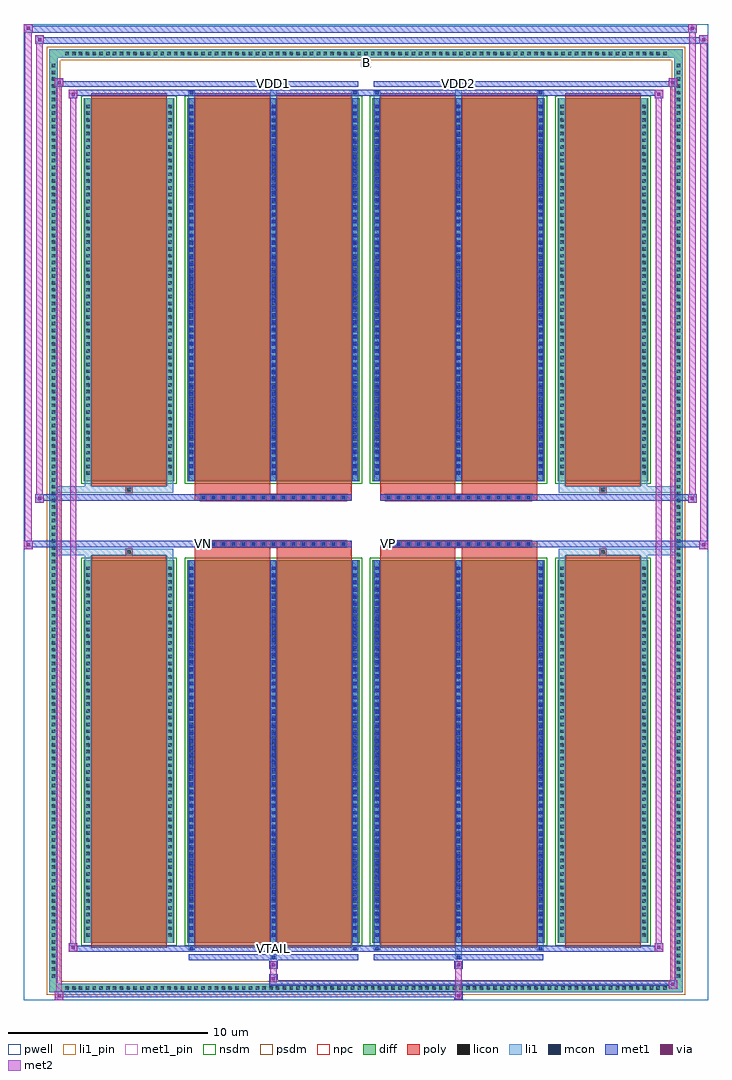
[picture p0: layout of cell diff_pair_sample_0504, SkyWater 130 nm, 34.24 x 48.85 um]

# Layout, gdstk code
import gdstk
lib = gdstk.Library(unit=1e-6, precision=5e-09)
def R(c, l, rs):  # rectangles x0, y0, x1, y1
    for r in rs: c.add(gdstk.rectangle(r[:2], r[2:], *l))
def A(c, l, x, y, w, h, nx, ny, dx, dy):  # array of equal rectangles
    R(c, l, [(x+i*dx, y+j*dy, x+i*dx+w, y+j*dy+h) for i in range(nx) for j in range(ny)])
def P(c, l, *ps):  # polygons
    for p in ps: c.add(gdstk.Polygon(p, *l))
pwell = (64, 44)
diff = (65, 20)
poly = (66, 20)
licon = (66, 44)
li1_pin = (67, 16)
li1 = (67, 20)
mcon = (67, 44)
met1_pin = (68, 16)
met1 = (68, 20)
via = (68, 44)
met2 = (69, 20)
nsdm = (93, 44)
psdm = (94, 20)
npc = (95, 20)

diff_pair_sample_0504 = lib.new_cell('diff_pair_sample_0504')
R(diff_pair_sample_0504, pwell, [(-17.12,-23.99,17.12,24.86), (-14.44,-22.18,-0.01,-0.8), (0.01,-22.18,14.44,-0.8), (-14.44,0.8,-0.01,22.18), (0.01,0.8,14.44,22.18)])
A(diff_pair_sample_0504, diff, -15.165, -23.59, 0.41, 0.41, 89, 2, 0.34, 46.77)
A(diff_pair_sample_0504, diff, -15.85, -22.985, 0.41, 0.41, 1, 135, 0, 0.34)
A(diff_pair_sample_0504, diff, 15.44, -22.985, 0.41, 0.41, 1, 135, 0, 0.34)
R(diff_pair_sample_0504, diff, [(-15.165,-23.59,15.165,-23.18), (-15.85,-22.985,-15.44,22.985), (15.44,-22.985,15.85,22.985), (-14.13,-21.135,-9.59,-1.985), (-8.95,-21.135,-0.32,-1.985), (0.32,-21.135,8.95,-1.985), (9.59,-21.135,14.13,-1.985), (-14.13,1.985,-9.59,21.135), (-8.95,1.985,-0.32,21.135), (0.32,1.985,8.95,21.135), (9.59,1.985,14.13,21.135), (-15.165,23.18,15.165,23.59)])
P(diff_pair_sample_0504, diff, [(15.85,23.59),(-15.85,23.59),(-15.85,-23.18),(-15.44,-23.18),(-15.44,23.18),(15.44,23.18),(15.44,-23.18),(-15.44,-23.18),(-15.85,-23.18),(-15.85,-23.59),(15.85,-23.59)])
A(diff_pair_sample_0504, poly, -8.3, -1.33, 0.33, 0.33, 15, 2, 0.5, 2.33)
A(diff_pair_sample_0504, poly, 0.97, -1.33, 0.33, 0.33, 15, 2, 0.5, 2.33)
R(diff_pair_sample_0504, poly, [(-13.74,-21.385,-9.98,-1.735), (-8.56,-21.385,-4.8,-1.735), (-4.47,-21.385,-0.71,-1.735), (0.71,-21.385,4.47,-1.735), (4.8,-21.385,8.56,-1.735), (9.98,-21.385,13.74,-1.735), (-12.025,-1.735,-11.695,-1.405), (-12.025,-1.735,-11.695,-1.405), (-8.56,-1.735,-4.8,-1.33), (-4.47,-1.735,-0.71,-1.33), (0.71,-1.735,4.47,-1.33), (4.8,-1.735,8.56,-1.33), (11.695,-1.735,12.025,-1.405), (11.695,-1.735,12.025,-1.405), (-8.56,-1.33,-0.71,-1), (0.71,-1.33,8.56,-1), (-8.56,1,-0.71,1.33), (0.71,1,8.56,1.33), (-8.56,1.33,-4.8,1.735), (-4.47,1.33,-0.71,1.735), (0.71,1.33,4.47,1.735), (4.8,1.33,8.56,1.735), (-12.025,1.405,-11.695,1.735), (-12.025,1.405,-11.695,1.735), (11.695,1.405,12.025,1.735), (11.695,1.405,12.025,1.735), (-13.74,1.735,-9.98,21.385), (-8.56,1.735,-4.8,21.385), (-4.47,1.735,-0.71,21.385), (0.71,1.735,4.47,21.385), (4.8,1.735,8.56,21.385), (9.98,1.735,13.74,21.385)])
A(diff_pair_sample_0504, licon, -15.045, -23.47, 0.17, 0.17, 89, 2, 0.34, 46.77)
A(diff_pair_sample_0504, licon, -15.73, -22.865, 0.17, 0.17, 1, 135, 0, 0.34)
A(diff_pair_sample_0504, licon, 15.56, -22.865, 0.17, 0.17, 1, 135, 0, 0.34)
A(diff_pair_sample_0504, licon, -13.99, -20.825, 0.17, 0.17, 1, 55, 0, 0.34)
A(diff_pair_sample_0504, licon, -9.9, -20.825, 0.17, 0.17, 1, 55, 0, 0.34)
A(diff_pair_sample_0504, licon, -8.81, -20.825, 0.17, 0.17, 3, 55, 4.09, 0.34)
A(diff_pair_sample_0504, licon, 0.46, -20.825, 0.17, 0.17, 3, 55, 4.09, 0.34)
A(diff_pair_sample_0504, licon, 9.73, -20.825, 0.17, 0.17, 1, 55, 0, 0.34)
A(diff_pair_sample_0504, licon, 13.82, -20.825, 0.17, 0.17, 1, 55, 0, 0.34)
A(diff_pair_sample_0504, licon, -8.22, -1.25, 0.17, 0.17, 15, 2, 0.5, 2.33)
A(diff_pair_sample_0504, licon, 1.05, -1.25, 0.17, 0.17, 15, 2, 0.5, 2.33)
A(diff_pair_sample_0504, licon, -13.99, 2.295, 0.17, 0.17, 1, 55, 0, 0.34)
A(diff_pair_sample_0504, licon, -9.9, 2.295, 0.17, 0.17, 1, 55, 0, 0.34)
A(diff_pair_sample_0504, licon, -8.81, 2.295, 0.17, 0.17, 3, 55, 4.09, 0.34)
A(diff_pair_sample_0504, licon, 0.46, 2.295, 0.17, 0.17, 3, 55, 4.09, 0.34)
A(diff_pair_sample_0504, licon, 9.73, 2.295, 0.17, 0.17, 1, 55, 0, 0.34)
A(diff_pair_sample_0504, licon, 13.82, 2.295, 0.17, 0.17, 1, 55, 0, 0.34)
R(diff_pair_sample_0504, licon, [(-11.945,-1.655,-11.775,-1.485), (11.775,-1.655,11.945,-1.485), (-11.945,1.485,-11.775,1.655), (11.775,1.485,11.945,1.655)])
R(diff_pair_sample_0504, li1_pin, [(-0.25,22.68,0.25,23.18)])
A(diff_pair_sample_0504, li1, -15.125, -23.55, 0.33, 0.33, 89, 2, 0.34, 46.77)
A(diff_pair_sample_0504, li1, -15.81, -22.945, 0.33, 0.33, 1, 135, 0, 0.34)
A(diff_pair_sample_0504, li1, 15.48, -22.945, 0.33, 0.33, 1, 135, 0, 0.34)
A(diff_pair_sample_0504, li1, -8.89, -21.135, 0.33, 19.15, 3, 2, 4.09, 23.12)
A(diff_pair_sample_0504, li1, 0.38, -21.135, 0.33, 19.15, 3, 2, 4.09, 23.12)
A(diff_pair_sample_0504, li1, -14.07, -20.905, 0.33, 0.33, 1, 55, 0, 0.34)
A(diff_pair_sample_0504, li1, -9.98, -20.905, 0.33, 0.33, 1, 55, 0, 0.34)
A(diff_pair_sample_0504, li1, -8.89, -20.905, 0.33, 0.33, 3, 55, 4.09, 0.34)
A(diff_pair_sample_0504, li1, 0.38, -20.905, 0.33, 0.33, 3, 55, 4.09, 0.34)
A(diff_pair_sample_0504, li1, 9.65, -20.905, 0.33, 0.33, 1, 55, 0, 0.34)
A(diff_pair_sample_0504, li1, 13.74, -20.905, 0.33, 0.33, 1, 55, 0, 0.34)
A(diff_pair_sample_0504, li1, -8.81, -20.825, 0.17, 0.17, 3, 52, 4.09, 0.36)
A(diff_pair_sample_0504, li1, -8.81, -20.825, 0.17, 18.53, 3, 2, 4.09, 23.12)
A(diff_pair_sample_0504, li1, 0.46, -20.825, 0.17, 0.17, 3, 52, 4.09, 0.36)
A(diff_pair_sample_0504, li1, 0.46, -20.825, 0.17, 18.53, 3, 2, 4.09, 23.12)
A(diff_pair_sample_0504, li1, -8.3, -1.33, 0.33, 0.33, 15, 2, 0.5, 2.33)
A(diff_pair_sample_0504, li1, 0.97, -1.33, 0.33, 0.33, 15, 2, 0.5, 2.33)
A(diff_pair_sample_0504, li1, -14.07, 2.215, 0.33, 0.33, 1, 55, 0, 0.34)
A(diff_pair_sample_0504, li1, -9.98, 2.215, 0.33, 0.33, 1, 55, 0, 0.34)
A(diff_pair_sample_0504, li1, -8.89, 2.215, 0.33, 0.33, 3, 55, 4.09, 0.34)
A(diff_pair_sample_0504, li1, 0.38, 2.215, 0.33, 0.33, 3, 55, 4.09, 0.34)
A(diff_pair_sample_0504, li1, 9.65, 2.215, 0.33, 0.33, 1, 55, 0, 0.34)
A(diff_pair_sample_0504, li1, 13.74, 2.215, 0.33, 0.33, 1, 55, 0, 0.34)
A(diff_pair_sample_0504, li1, -8.81, 2.295, 0.17, 0.17, 3, 52, 4.09, 0.36)
A(diff_pair_sample_0504, li1, 0.46, 2.295, 0.17, 0.17, 3, 52, 4.09, 0.36)
R(diff_pair_sample_0504, li1, [(-15.85,-23.59,-15.44,-23.18), (-15.85,-23.59,-15.44,-23.18), (-15.44,-23.59,15.44,-23.18), (15.44,-23.59,15.85,-23.18), (15.44,-23.59,15.85,-23.18), (-15.85,-23.18,-15.44,23.18), (15.44,-23.18,15.85,23.18), (-4.8,-21.94,-4.47,-21.135), (-4.72,-21.94,-4.55,-21.77), (4.47,-21.94,4.8,-21.135), (4.55,-21.94,4.72,-21.77), (-8.89,-21.51,-8.56,-21.135), (-8.81,-21.51,-8.64,-21.34), (-0.71,-21.51,-0.38,-21.135), (-0.63,-21.51,-0.46,-21.34), (0.38,-21.51,0.71,-21.135), (0.46,-21.51,0.63,-21.34), (8.56,-21.51,8.89,-21.135), (8.64,-21.51,8.81,-21.34), (-14.07,-21.135,-13.74,-1.985), (-9.98,-21.135,-9.65,-1.985), (9.65,-21.135,9.98,-1.985), (13.74,-21.135,14.07,-1.985), (-14.07,-1.985,-13.74,-1.405), (-9.98,-1.985,-9.65,-1.405), (9.65,-1.985,9.98,-1.405), (13.74,-1.985,14.07,-1.405), (-15.85,-1.735,-12.025,-1.405), (-14.07,-1.735,-12.025,-1.405), (-12.025,-1.735,-11.695,-1.405), (-11.695,-1.735,-9.65,-1.405), (9.65,-1.735,11.695,-1.405), (11.695,-1.735,12.025,-1.405), (11.695,-1.735,15.85,-1.405), (12.025,-1.735,14.07,-1.405), (-15.85,1.405,-12.025,1.735), (-14.07,1.405,-12.025,1.735), (-14.07,1.405,-13.74,1.985), (-12.025,1.405,-11.695,1.735), (-11.695,1.405,-9.65,1.735), (-9.98,1.405,-9.65,1.985), (9.65,1.405,11.695,1.735), (9.65,1.405,9.98,1.985), (11.695,1.405,12.025,1.735), (11.695,1.405,15.85,1.735), (12.025,1.405,14.07,1.735), (13.74,1.405,14.07,1.985), (-14.07,1.985,-13.74,21.135), (-9.98,1.985,-9.65,21.135), (9.65,1.985,9.98,21.135), (13.74,1.985,14.07,21.135), (-8.89,21.135,-8.56,21.51), (-4.8,21.135,-4.47,21.94), (-0.71,21.135,-0.38,21.51), (0.38,21.135,0.71,21.51), (4.47,21.135,4.8,21.94), (8.56,21.135,8.89,21.51), (-8.81,21.34,-8.64,21.51), (-0.63,21.34,-0.46,21.51), (0.46,21.34,0.63,21.51), (8.64,21.34,8.81,21.51), (-4.72,21.77,-4.55,21.94), (4.55,21.77,4.72,21.94), (-15.85,23.18,-15.44,23.59), (-15.85,23.18,-15.44,23.59), (-15.44,23.18,15.44,23.59), (15.44,23.18,15.85,23.59), (15.44,23.18,15.85,23.59)])
A(diff_pair_sample_0504, mcon, -8.81, -20.825, 0.17, 0.17, 3, 52, 4.09, 0.36)
A(diff_pair_sample_0504, mcon, 0.46, -20.825, 0.17, 0.17, 3, 52, 4.09, 0.36)
A(diff_pair_sample_0504, mcon, -8.22, -1.25, 0.17, 0.17, 15, 2, 0.5, 2.33)
A(diff_pair_sample_0504, mcon, 1.05, -1.25, 0.17, 0.17, 15, 2, 0.5, 2.33)
A(diff_pair_sample_0504, mcon, -8.81, 2.295, 0.17, 0.17, 3, 52, 4.09, 0.36)
A(diff_pair_sample_0504, mcon, 0.46, 2.295, 0.17, 0.17, 3, 52, 4.09, 0.36)
R(diff_pair_sample_0504, mcon, [(-4.72,-21.94,-4.55,-21.77), (4.55,-21.94,4.72,-21.77), (-8.81,-21.51,-8.64,-21.34), (-0.63,-21.51,-0.46,-21.34), (0.46,-21.51,0.63,-21.34), (8.64,-21.51,8.81,-21.34), (-8.81,21.34,-8.64,21.51), (-0.63,21.34,-0.46,21.51), (0.46,21.34,0.63,21.51), (8.64,21.34,8.81,21.51), (-4.72,21.77,-4.55,21.94), (4.55,21.77,4.72,21.94)])
R(diff_pair_sample_0504, met1_pin, [(-4.77,-21.55,-4.5,-21.28), (-8.27,-1.29,-8,-1.02), (1,-1.29,1.27,-1.02), (-4.77,21.73,-4.5,22), (4.5,21.73,4.77,22)])
A(diff_pair_sample_0504, met1, -8.87, -21.135, 0.29, 19.15, 3, 2, 4.09, 23.12)
A(diff_pair_sample_0504, met1, 0.4, -21.135, 0.29, 19.15, 3, 2, 4.09, 23.12)
A(diff_pair_sample_0504, met1, -8.87, -20.885, 0.29, 0.29, 3, 52, 4.09, 0.36)
A(diff_pair_sample_0504, met1, 0.4, -20.885, 0.29, 0.29, 3, 52, 4.09, 0.36)
A(diff_pair_sample_0504, met1, -8.28, -1.31, 0.29, 0.29, 15, 2, 0.5, 2.33)
A(diff_pair_sample_0504, met1, 0.99, -1.31, 0.29, 0.29, 15, 2, 0.5, 2.33)
A(diff_pair_sample_0504, met1, -8.87, 2.235, 0.29, 0.29, 3, 52, 4.09, 0.36)
A(diff_pair_sample_0504, met1, 0.4, 2.235, 0.29, 0.29, 3, 52, 4.09, 0.36)
R(diff_pair_sample_0504, met1, [(-15.58,-23.99,-15.15,-23.56), (4.42,-23.99,4.85,-23.56), (-15.58,-23.85,4.85,-23.56), (15.15,-23.42,15.58,-22.99), (-4.85,-23.28,15.58,-22.99), (-4.85,-23.14,-4.42,-22.71), (-4.85,-22.43,-4.42,-22), (4.42,-22.43,4.85,-22), (-8.87,-22,-0.4,-21.71), (-4.78,-22,-4.49,-21.71), (0.4,-22,8.87,-21.71), (4.49,-22,4.78,-21.71), (-14.87,-21.57,-14.44,-21.14), (-14.87,-21.57,-8.87,-21.28), (-8.87,-21.57,-8.58,-21.28), (-8.87,-21.57,-0.4,-21.28), (-0.69,-21.57,-0.4,-21.28), (-0.4,-21.57,0.4,-21.28), (0.4,-21.57,0.69,-21.28), (0.4,-21.57,8.87,-21.28), (8.58,-21.57,8.87,-21.28), (8.87,-21.57,14.87,-21.28), (14.44,-21.57,14.87,-21.14), (-17.12,-1.43,-16.69,-1), (16.69,-1.43,17.12,-1), (-17.12,-1.33,-0.71,-1), (-8.56,-1.33,-0.71,-1), (0.71,-1.33,8.56,-1), (0.71,-1.33,17.12,-1), (-16.55,0.9,-16.12,1.33), (16.12,0.9,16.55,1.33), (-16.55,1,-8.56,1.33), (-8.56,1,-0.71,1.33), (0.71,1,8.56,1.33), (8.56,1,16.55,1.33), (-14.87,21.14,-14.44,21.57), (14.44,21.14,14.87,21.57), (-14.87,21.28,-8.87,21.57), (-8.87,21.28,-8.58,21.57), (-8.87,21.28,-0.4,21.57), (-0.69,21.28,-0.4,21.57), (-0.4,21.28,0.4,21.57), (0.4,21.28,0.69,21.57), (0.4,21.28,8.87,21.57), (8.58,21.28,8.87,21.57), (8.87,21.28,14.87,21.57), (-15.58,21.71,-15.15,22.14), (-15.58,21.71,-8.87,22), (-8.87,21.71,-0.4,22), (-4.78,21.71,-4.49,22), (0.4,21.71,8.87,22), (4.49,21.71,4.78,22), (8.87,21.71,15.58,22), (15.15,21.71,15.58,22.14), (-16.55,23.86,-16.12,24.29), (-16.55,23.86,-14.44,24.19), (-14.44,23.86,14.44,24.19), (14.44,23.86,17.12,24.19), (16.69,23.86,17.12,24.29), (-17.12,24.43,-16.69,24.86), (-17.12,24.43,-14.44,24.76), (-14.44,24.43,14.44,24.76), (14.44,24.43,16.55,24.76), (16.12,24.43,16.55,24.86)])
R(diff_pair_sample_0504, via, [(-15.44,-23.85,-15.29,-23.7), (4.56,-23.85,4.71,-23.7), (15.29,-23.28,15.44,-23.13), (-4.71,-23,-4.56,-22.85), (-4.71,-22.29,-4.56,-22.14), (4.56,-22.29,4.71,-22.14), (-14.73,-21.43,-14.58,-21.28), (14.58,-21.43,14.73,-21.28), (-16.98,-1.29,-16.83,-1.14), (16.83,-1.29,16.98,-1.14), (-16.41,1.04,-16.26,1.19), (16.26,1.04,16.41,1.19), (-14.73,21.28,-14.58,21.43), (14.58,21.28,14.73,21.43), (-15.44,21.85,-15.29,22), (15.29,21.85,15.44,22), (-16.41,24,-16.26,24.15), (16.83,24,16.98,24.15), (-16.98,24.57,-16.83,24.72), (16.26,24.57,16.41,24.72)])
R(diff_pair_sample_0504, met2, [(-15.58,-23.99,-15.15,-23.56), (-15.51,-23.99,-15.22,22.14), (-15.22,-23.99,-15.15,-23.56), (-15.53,-23.94,-15.2,-23.61), (4.47,-23.94,4.8,-23.61), (4.47,-23.61,4.8,-22.38), (15.15,-23.42,15.58,-22.99), (15.22,-23.42,15.51,22.14), (15.51,-23.42,15.58,-22.99), (15.2,-23.37,15.53,-23.04), (-4.8,-23.09,-4.47,-22.76), (-4.8,-22.76,-4.47,-22.38), (-4.8,-22.38,-4.47,-22.05), (4.47,-22.38,4.8,-22.05), (-14.87,-21.57,-14.44,-21.14), (-14.8,-21.57,-14.51,21.57), (-14.51,-21.57,-14.44,-21.14), (14.44,-21.57,14.87,-21.14), (14.51,-21.57,14.8,21.57), (14.8,-21.57,14.87,-21.14), (-14.82,-21.52,-14.49,-21.19), (14.49,-21.52,14.82,-21.19), (-17.12,-1.43,-16.69,-1), (-17.07,-1.43,-16.74,24.86), (-16.74,-1.43,-16.69,-1), (16.69,-1.43,17.12,-1), (16.74,-1.43,17.07,24.29), (17.07,-1.43,17.12,-1), (-17.07,-1.38,-16.74,-1.05), (16.74,-1.38,17.07,-1.05), (-16.55,0.9,-16.12,1.33), (-16.5,0.9,-16.17,24.29), (-16.17,0.9,-16.12,1.33), (16.12,0.9,16.55,1.33), (16.17,0.9,16.5,24.86), (16.5,0.9,16.55,1.33), (-16.5,0.95,-16.17,1.28), (16.17,0.95,16.5,1.28), (-14.87,21.14,-14.44,21.57), (-14.51,21.14,-14.44,21.57), (14.44,21.14,14.87,21.57), (14.8,21.14,14.87,21.57), (-14.82,21.19,-14.49,21.52), (14.49,21.19,14.82,21.52), (-15.58,21.71,-15.15,22.14), (-15.22,21.71,-15.15,22.14), (15.15,21.71,15.58,22.14), (15.51,21.71,15.58,22.14), (-15.53,21.76,-15.2,22.09), (15.2,21.76,15.53,22.09), (-16.55,23.86,-16.12,24.29), (-16.17,23.86,-16.12,24.29), (16.69,23.86,17.12,24.29), (17.07,23.86,17.12,24.29), (-16.5,23.91,-16.17,24.24), (16.74,23.91,17.07,24.24), (-17.12,24.43,-16.69,24.86), (-16.74,24.43,-16.69,24.86), (16.12,24.43,16.55,24.86), (16.5,24.43,16.55,24.86), (-17.07,24.48,-16.74,24.81), (16.17,24.48,16.5,24.81)])
R(diff_pair_sample_0504, nsdm, [(-14.26,-21.265,-9.46,-1.855), (-9.08,-21.265,-0.19,-1.855), (0.19,-21.265,9.08,-1.855), (9.46,-21.265,14.26,-1.855), (-14.26,1.855,-9.46,21.265), (-9.08,1.855,-0.19,21.265), (0.19,1.855,9.08,21.265), (9.46,1.855,14.26,21.265)])
P(diff_pair_sample_0504, psdm, [(15.98,23.72),(-15.98,23.72),(-15.98,-23.05),(-15.31,-23.05),(-15.31,23.05),(15.31,23.05),(15.31,-23.05),(-15.31,-23.05),(-15.98,-23.05),(-15.98,-23.72),(15.98,-23.72)])
A(diff_pair_sample_0504, npc, -8.32, -1.35, 0.37, 0.37, 15, 2, 0.5, 2.33)
A(diff_pair_sample_0504, npc, 0.95, -1.35, 0.37, 0.37, 15, 2, 0.5, 2.33)
R(diff_pair_sample_0504, npc, [(-12.045,-1.755,-11.675,-1.385), (11.675,-1.755,12.045,-1.385), (-8.32,-1.35,-7.45,-0.98), (-8.32,-1.35,-7.45,-0.98), (-7.82,-1.35,-6.95,-0.98), (-7.82,-1.35,-6.95,-0.98), (-7.32,-1.35,-6.45,-0.98), (-7.32,-1.35,-6.45,-0.98), (-6.82,-1.35,-5.95,-0.98), (-6.82,-1.35,-5.95,-0.98), (-6.32,-1.35,-5.45,-0.98), (-6.32,-1.35,-5.45,-0.98), (-5.82,-1.35,-4.95,-0.98), (-5.82,-1.35,-4.95,-0.98), (-5.32,-1.35,-4.45,-0.98), (-5.32,-1.35,-4.45,-0.98), (-4.82,-1.35,-3.95,-0.98), (-4.82,-1.35,-3.95,-0.98), (-4.32,-1.35,-3.45,-0.98), (-4.32,-1.35,-3.45,-0.98), (-3.82,-1.35,-2.95,-0.98), (-3.82,-1.35,-2.95,-0.98), (-3.32,-1.35,-2.45,-0.98), (-3.32,-1.35,-2.45,-0.98), (-2.82,-1.35,-1.95,-0.98), (-2.82,-1.35,-1.95,-0.98), (-2.32,-1.35,-1.45,-0.98), (-2.32,-1.35,-1.45,-0.98), (-1.82,-1.35,-0.95,-0.98), (-1.82,-1.35,-0.95,-0.98), (0.95,-1.35,1.82,-0.98), (0.95,-1.35,1.82,-0.98), (1.45,-1.35,2.32,-0.98), (1.45,-1.35,2.32,-0.98), (1.95,-1.35,2.82,-0.98), (1.95,-1.35,2.82,-0.98), (2.45,-1.35,3.32,-0.98), (2.45,-1.35,3.32,-0.98), (2.95,-1.35,3.82,-0.98), (2.95,-1.35,3.82,-0.98), (3.45,-1.35,4.32,-0.98), (3.45,-1.35,4.32,-0.98), (3.95,-1.35,4.82,-0.98), (3.95,-1.35,4.82,-0.98), (4.45,-1.35,5.32,-0.98), (4.45,-1.35,5.32,-0.98), (4.95,-1.35,5.82,-0.98), (4.95,-1.35,5.82,-0.98), (5.45,-1.35,6.32,-0.98), (5.45,-1.35,6.32,-0.98), (5.95,-1.35,6.82,-0.98), (5.95,-1.35,6.82,-0.98), (6.45,-1.35,7.32,-0.98), (6.45,-1.35,7.32,-0.98), (6.95,-1.35,7.82,-0.98), (6.95,-1.35,7.82,-0.98), (7.45,-1.35,8.32,-0.98), (7.45,-1.35,8.32,-0.98), (-8.32,0.98,-7.45,1.35), (-8.32,0.98,-7.45,1.35), (-7.82,0.98,-6.95,1.35), (-7.82,0.98,-6.95,1.35), (-7.32,0.98,-6.45,1.35), (-7.32,0.98,-6.45,1.35), (-6.82,0.98,-5.95,1.35), (-6.82,0.98,-5.95,1.35), (-6.32,0.98,-5.45,1.35), (-6.32,0.98,-5.45,1.35), (-5.82,0.98,-4.95,1.35), (-5.82,0.98,-4.95,1.35), (-5.32,0.98,-4.45,1.35), (-5.32,0.98,-4.45,1.35), (-4.82,0.98,-3.95,1.35), (-4.82,0.98,-3.95,1.35), (-4.32,0.98,-3.45,1.35), (-4.32,0.98,-3.45,1.35), (-3.82,0.98,-2.95,1.35), (-3.82,0.98,-2.95,1.35), (-3.32,0.98,-2.45,1.35), (-3.32,0.98,-2.45,1.35), (-2.82,0.98,-1.95,1.35), (-2.82,0.98,-1.95,1.35), (-2.32,0.98,-1.45,1.35), (-2.32,0.98,-1.45,1.35), (-1.82,0.98,-0.95,1.35), (-1.82,0.98,-0.95,1.35), (0.95,0.98,1.82,1.35), (0.95,0.98,1.82,1.35), (1.45,0.98,2.32,1.35), (1.45,0.98,2.32,1.35), (1.95,0.98,2.82,1.35), (1.95,0.98,2.82,1.35), (2.45,0.98,3.32,1.35), (2.45,0.98,3.32,1.35), (2.95,0.98,3.82,1.35), (2.95,0.98,3.82,1.35), (3.45,0.98,4.32,1.35), (3.45,0.98,4.32,1.35), (3.95,0.98,4.82,1.35), (3.95,0.98,4.82,1.35), (4.45,0.98,5.32,1.35), (4.45,0.98,5.32,1.35), (4.95,0.98,5.82,1.35), (4.95,0.98,5.82,1.35), (5.45,0.98,6.32,1.35), (5.45,0.98,6.32,1.35), (5.95,0.98,6.82,1.35), (5.95,0.98,6.82,1.35), (6.45,0.98,7.32,1.35), (6.45,0.98,7.32,1.35), (6.95,0.98,7.82,1.35), (6.95,0.98,7.82,1.35), (7.45,0.98,8.32,1.35), (7.45,0.98,8.32,1.35), (-12.045,1.385,-11.675,1.755), (11.675,1.385,12.045,1.755)])
diff_pair_sample_0504.add(gdstk.Label('VTAIL', (-4.635,-21.415), layer=68, texttype=5))
diff_pair_sample_0504.add(gdstk.Label('VN', (-8.135,-1.155), layer=68, texttype=5))
diff_pair_sample_0504.add(gdstk.Label('VP', (1.135,-1.155), layer=68, texttype=5))
diff_pair_sample_0504.add(gdstk.Label('B', (0,22.93), layer=67, texttype=5))
diff_pair_sample_0504.add(gdstk.Label('VDD2', (4.635,21.865), layer=68, texttype=5))
diff_pair_sample_0504.add(gdstk.Label('VDD1', (-4.635,21.865), layer=68, texttype=5))

lib.write_gds('diff_pair_sample_0504.gds')
